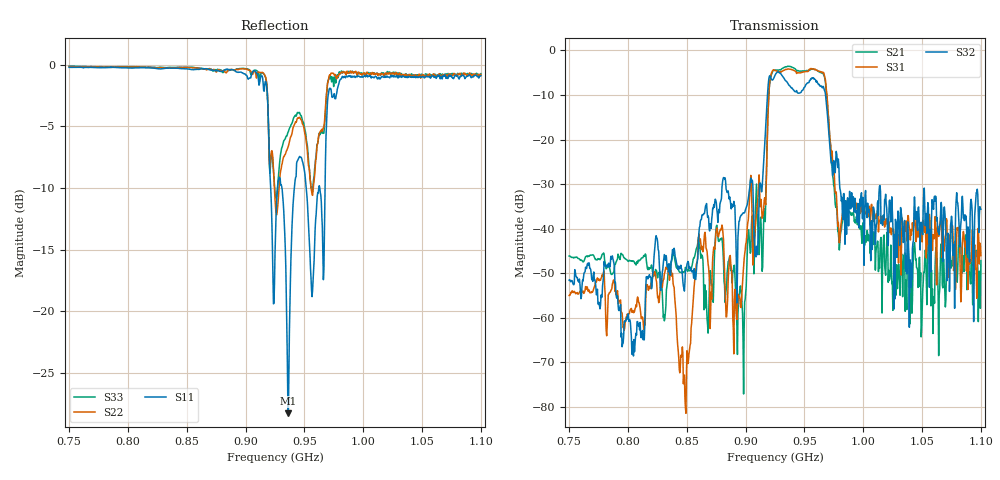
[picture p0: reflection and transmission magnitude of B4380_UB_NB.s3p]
! Matrix data file written by TouchstoneData, EPCOS AG
! FILENAME: "LY65A_X34Y34_F1_NB.s3p_newformat"
! COMMENT: "(LY65A_X34Y34_F1_NB.s3p) Epcos AG 12/3/2010"
! INFO: nport=3, nfreq=801
! DATE: "Wed Jun 15 09:02:21 2011"
! USER: "Michael Schemies"
! port | pin | signal
!  1  |  1  |  in
!  2  |  8  |  out
!  3  |  9  |  out
# MHZ S MA R 50
! freq  magS11 angS11  magS12 angS12  magS13 angS13  ...
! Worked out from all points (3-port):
!   801 points, 750 MHz to 1.1 GHz, reference 50 ohm
!   strongest paths, dB at 750 MHz, 837.5 MHz, 925 MHz, 1.012 GHz, 1.1 GHz:
!     S32: -51.5, -46.0, -5.6, -33.7, -35.6
!     S31: -55.0, -49.9, -4.5, -36.3, -46.0
!     S21: -46.1, -46.7, -4.4, -42.9, -47.2
!   lowest |S11| = -28.3 dB at 936.4 MHz (marker M1), VSWR 1.08, Z = 51.8 + j3.5 ohm
!   |S11| at or under -10 dB: 921.3 MHz to 927.2 MHz (5.861 MHz wide, 0.634 % of centre); 930.9 MHz to 941.5 MHz (10.59 MHz wide, 1.13 % of centre); 951.6 MHz to 962.3 MHz (10.74 MHz wide, 1.12 % of centre) (the widest 3 of 4)
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750  0.9739 -86.6  0.004961 20.5  0.00181 22.1
     0.004943 20.4  0.9805 -55.4  0.002622 39.5
     0.001782 22.5  0.00265 39.4  0.9841 -54.0
833.125  0.9673 -100.0  0.002286 63.1  0.003529 -11.5
         0.002289 63.8  0.968 -66.1  0.003935 -61.4
         0.003527 -11.8  0.003923 -60.7  0.972 -64.6
848.4375  0.9607 -104.3  0.003393 17.0  7.52e-05 -4.6
          0.003387 16.3  0.972 -69.3  0.002511 -151.6
          0.0001256 6.0  0.002492 -152.3  0.975 -67.9
861.125  0.9569 -107.7  0.006311 -70.4  0.007488 85.5
         0.006286 -70.5  0.9642 -72.9  0.01071 -136.9
         0.007486 85.6  0.01069 -136.7  0.966 -71.6
898.3125  0.919 -131.7  0.0001518 20.3  0.003739 139.5
          0.00014 17.6  0.9608 -90.9  0.01514 173.1
          0.003748 139.6  0.01512 173.2  0.9646 -90.1
925  0.1703 -58.1  0.5997 -149.4  0.5965 27.3
     0.6004 -149.4  0.284 125.3  0.5273 115.8
     0.5968 27.5  0.5267 115.9  0.3027 117.1
936.375  0.03856 60.9  0.6636 91.5  0.6205 -88.4
         0.6641 91.5  0.4669 -41.4  0.4172 -38.9
         0.6199 -88.3  0.4168 -38.9  0.535 -40.6
966.5625  0.1471 21.3  0.5229 -167.2  0.5568 12.1
          0.5233 -167.3  0.562 18.7  0.3736 14.6
          0.5569 12.1  0.3737 14.7  0.5268 19.9
980.125  0.8648 -36.2  0.007132 -156.2  0.007837 18.7
         0.007135 -156.5  0.9153 -21.8  0.02833 -91.1
         0.007855 18.5  0.02834 -90.9  0.9278 -19.5
1100  0.9011 -89.0  0.004569 72.2  0.005074 5.3
      0.004385 72.0  0.9101 -59.8  0.01617 176.5
      0.004995 5.1  0.01659 176.5  0.9178 -57.3
